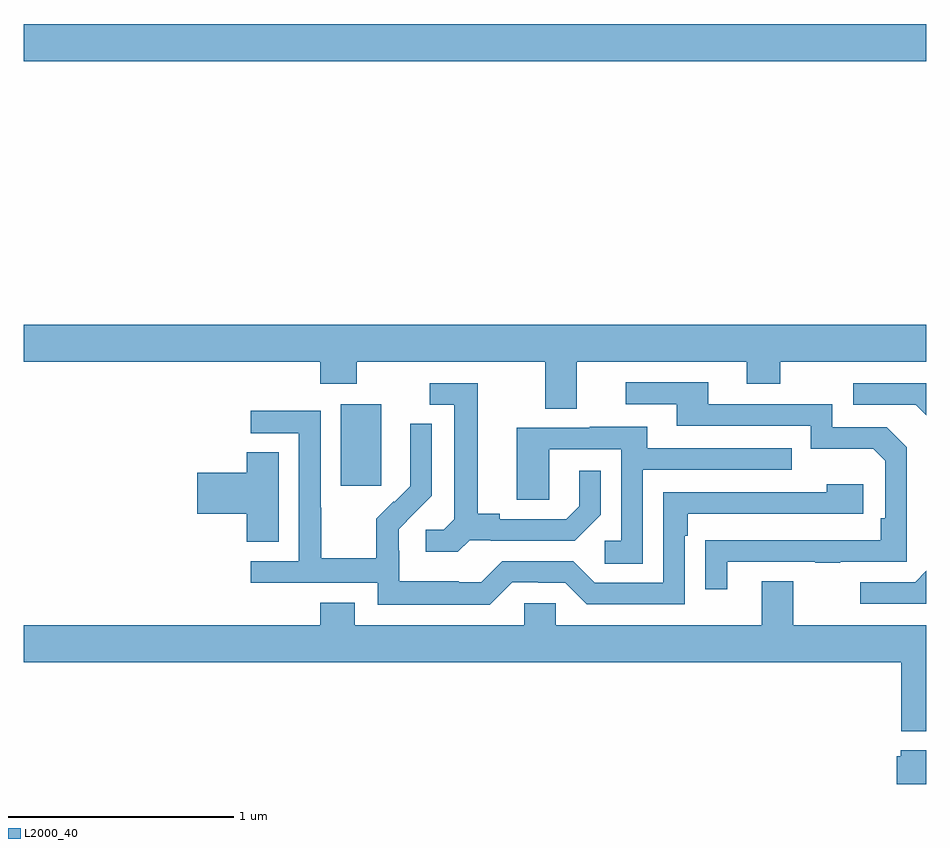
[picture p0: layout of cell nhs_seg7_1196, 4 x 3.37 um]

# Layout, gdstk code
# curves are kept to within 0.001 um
import gdstk
lib = gdstk.Library(unit=1e-6, precision=1e-09)
def R(c, l, rs):  # rectangles x0, y0, x1, y1
    for r in rs: c.add(gdstk.rectangle(r[:2], r[2:], *l))
def P(c, l, *ps):  # polygons
    for p in ps: c.add(gdstk.Polygon(p, *l))
L2000_40 = (2000, 40)

nhs_seg7_1196 = lib.new_cell('nhs_seg7_1196')
R(nhs_seg7_1196, L2000_40, [(194.405,1077.321,194.584,1077.682), (193,1079.204,197,1079.368)])
P(nhs_seg7_1196, L2000_40, [(195.451,1077.872),(196.205,1077.872),(196.205,1077.773),(196.353,1077.773),(196.353,1077.872),(197,1077.872),(197,1078.036),(193,1078.036),(193,1077.872),(194.315,1077.872),(194.315,1077.773),(194.475,1077.773),(194.475,1077.872),(195.311,1077.872),(195.311,1077.664),(195.451,1077.664)],
  [(196.117,1076.985),(196.507,1076.985),(196.507,1076.98),(196.619,1076.98),(196.619,1076.985),(196.914,1076.985),(196.914,1077.492),(196.824,1077.582),(196.584,1077.582),(196.584,1077.684),(196.033,1077.684),(196.033,1077.78),(195.669,1077.78),(195.669,1077.684),(195.893,1077.684),(195.893,1077.588),(196.488,1077.588),(196.488,1077.485),(196.765,1077.485),(196.818,1077.432),(196.818,1077.178),(196.798,1077.178),(196.798,1077.081),(196.021,1077.08),(196.021,1076.862),(196.117,1076.862)],
  [(194.976,1077.081),(195.07,1077.081),(195.07,1077.078),(195.442,1077.078),(195.558,1077.194),(195.558,1077.388),(195.461,1077.388),(195.461,1077.231),(195.404,1077.174),(195.109,1077.174),(195.109,1077.197),(195.013,1077.197),(195.013,1077.777),(194.799,1077.777),(194.799,1077.681),(194.909,1077.681),(194.909,1077.173),(194.862,1077.126),(194.781,1077.126),(194.781,1077.029),(194.924,1077.029)],
  [(197,1077.777),(196.677,1077.777),(196.677,1077.681),(196.953,1077.681),(197,1077.634)],
  [(195.165,1076.895),(195.281,1076.895),(195.281,1076.892),(195.399,1076.892),(195.495,1076.796),(195.93,1076.796),(195.93,1077.101),(195.943,1077.101),(195.943,1077.198),(196.72,1077.198),(196.72,1077.328),(196.559,1077.328),(196.559,1077.294),(195.834,1077.294),(195.834,1076.892),(195.531,1076.892),(195.435,1076.988),(195.12,1076.988),(195.027,1076.895),(194.927,1076.895),(194.927,1076.899),(194.664,1076.899),(194.664,1077.033),(194.662,1077.033),(194.662,1077.13),(194.808,1077.278),(194.808,1077.596),(194.712,1077.596),(194.712,1077.442),(194.714,1077.442),(194.714,1077.32),(194.643,1077.249),(194.64,1077.252),(194.563,1077.175),(194.563,1077.001),(194.319,1077.001),(194.319,1077.224),(194.316,1077.224),(194.316,1077.654),(194.007,1077.654),(194.007,1077.555),(194.22,1077.555),(194.22,1076.988),(194.007,1076.988),(194.007,1076.892),(194.568,1076.892),(194.568,1076.795),(195.065,1076.795)],
  [(195.744,1077.393),(196.403,1077.393),(196.403,1077.489),(195.763,1077.489),(195.763,1077.583),(195.509,1077.583),(195.509,1077.579),(195.185,1077.579),(195.185,1077.259),(195.33,1077.259),(195.33,1077.483),(195.648,1077.483),(195.648,1077.078),(195.576,1077.078),(195.576,1076.977),(195.744,1076.977)],
  [(194.131,1077.47),(193.988,1077.47),(193.988,1077.38),(193.77,1077.38),(193.77,1077.197),(193.988,1077.197),(193.988,1077.073),(194.131,1077.073)],
  [(197,1076.945),(196.95,1076.895),(196.707,1076.895),(196.707,1076.799),(197,1076.799)],
  [(197,1076.704),(196.411,1076.704),(196.411,1076.899),(196.271,1076.899),(196.271,1076.704),(195.357,1076.704),(195.357,1076.802),(195.219,1076.802),(195.219,1076.704),(194.467,1076.704),(194.467,1076.803),(194.315,1076.803),(194.315,1076.704),(193,1076.704),(193,1076.54),(196.889,1076.54),(196.889,1076.234),(197,1076.234)],
  [(197,1076.149),(196.887,1076.149),(196.887,1076.124),(196.868,1076.124),(196.868,1076),(197,1076)])

lib.write_gds('nhs_seg7_1196.gds')
